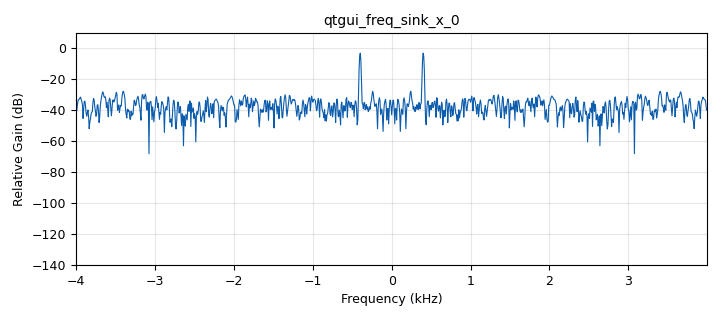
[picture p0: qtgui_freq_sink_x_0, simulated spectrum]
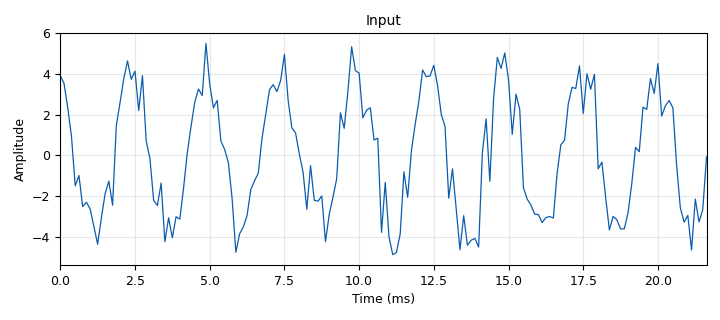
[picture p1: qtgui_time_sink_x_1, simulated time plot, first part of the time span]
options:
  parameters:
    generate_options: qt_gui
    id: untitled
    output_language: python
    title: Not titled yet
  states: {}

blocks:
- name: samp_rate
  id: variable
  parameters:
    value: '8000'
  states: {}
- name: analog_noise_source_x_0
  id: analog_noise_source_x
  parameters:
    amp: '1'
    noise_type: analog.GR_GAUSSIAN
    seed: '0'
    type: float
  states: {}
- name: analog_sig_source_x_0
  id: analog_sig_source_x
  parameters:
    amp: '4'
    freq: '400'
    offset: '0'
    phase: '0'
    samp_rate: samp_rate
    type: float
    waveform: analog.GR_COS_WAVE
  states: {}
- name: blocks_add_xx_0
  id: blocks_add_xx
  parameters:
    type: float
  states: {}
- name: blocks_throttle_0
  id: blocks_throttle
  parameters:
    samples_per_second: samp_rate
    type: float
  states: {}
- name: blocks_wavfile_sink_0
  id: blocks_wavfile_sink
  parameters:
    bits_per_sample1: FORMAT_PCM_16
    file: C:\Users\YASH\Desktop\Mtech stuff\Sem 2\TA duties\SW Lab 2\IIR\high.wav
    format: FORMAT_WAV
    samp_rate: samp_rate
  states: {state: disabled}
- name: blocks_wavfile_source_0
  id: blocks_wavfile_source
  parameters:
    file: E:\Placements\Verification\Implementation-of-IIR-and-FIR-filter-main\IIR\low.wav
    repeat: 'True'
  states: {state: disabled}
- name: epy_block_0
  id: epy_block
  parameters:
    _source_code: |
      # """
      # Embedded Python Blocks:

      # Each time this file is saved, GRC will instantiate the first class it finds
      # to get ports and parameters of your block. The arguments to __init__  will
      # be the parameters. All of them are required to have default values!
      # """

      # import numpy as np
      # from gnuradio import gr

      # class blk(gr.sync_block):  # other base classes are basic_block, decim_block, interp_block
      #     """Embedded Python Block example - a simple multiply const"""

      #     def __init__(self, feedforward_taps=[1], feedbacktaps=[1]):  # only default arguments here
      #         """arguments to this function show up as parameters in GRC"""
      #         gr.sync_block.__init__(
      #             self,
      #             name='Embedded Python Block',  # will show up in GRC
      #             in_sig=[np.float32],
      #             out_sig=[np.float32]
      #         )
      #         # if an attribute with the same name as a parameter is found,
      #         # a callback is registered (properties work, too).
      #         self.feedforward_taps= feedforward_taps # These are your N+1 coefficients.
      #         self.feedbacktaps= feedbacktaps # These are your M+1 coefficients.


      #         self.inputbuffer = np.zeros(len(feedforward_taps)) # Initializing Input Buffer
      #         self.outputbuffer = np.zeros(len(feedbacktaps)) # Initializing Output Buffer

      #         self.index = 0



      #     def work(self, input_items, output_items):

      #         self.input= input_items[0][0] # First sample of input vector
      #         self.output=0

      #         k= len(self.feedforward_taps)-1
      #         self.output=self.input * self.feedforward_taps[0]  # Equation 4 for b0*x[n]
      #         #################################################################
      #         # This operation will take care of IIR filter of variable length.
      #         for i in range(1, k):
      #             self.output = self.output + (self.inputbuffer[k-i] * self.feedforward_taps[i]) - (self.outputbuffer[k-i]*self.feedbacktaps[i])
      #             # Fill in with suitable code to implement equation 4 of the manual for i = 1 to M and j= 1 to N. See line 40 & 49 for i=0 & j=0.
      #             # This will give you IIR filter of variable filter length/order.

      #         ###############################################################3
      #         self.output /= self.feedbacktaps[0]  # Divide by a0 in case a0!=1 to realize eq.4.

      #         output_items[0][0] = self.output  # Store output
      #         # print(self.output)
      #         self.inputbuffer[self.index] = input_items[0][0] # Append inputbuffer
      #         self.outputbuffer[self.index] = output_items[0][0] # Append outputbuffer
      #         self.index = self.index + 1
      #         if(self.index > k):
      #             self.inputbuffer = np.zeros(len(self.feedforward_taps))
      #             self.outputbuffer = np.zeros(len(self.feedbacktaps))
      #             self.index = 0

      #         return 1

      """
      Embedded Python Blocks:

      Each time this file is saved, GRC will instantiate the first class it finds
      to get ports and parameters of your block. The arguments to __init__  will
      be the parameters. All of them are required to have default values!
      """

      import numpy as np
      from gnuradio import gr

      class blk(gr.sync_block):  # other base classes are basic_block, decim_block, interp_block
          """Embedded Python Block example - a simple multiply const"""

          def __init__(self, feedforward_taps=[1], feedbacktaps=[1]):  # only default arguments here
              """arguments to this function show up as parameters in GRC"""
              gr.sync_block.__init__(
                  self,
                  name='Embedded Python Block',  # will show up in GRC
                  in_sig=[np.float32],
                  out_sig=[np.float32]
              )
              # if an attribute with the same name as a parameter is found,
              # a callback is registered (properties work, too).
              self.feedforward_taps= feedforward_taps
              self.feedbacktaps= feedbacktaps

                # This is a local array that I define to store old output values. I need to set this up since there is not a set_history function to access old outputs (at least I cannot find such a function in GNU radio).
              # self.feedforward_taps = 0.0736, 0.2208, 0.2208, 0.0736  # feedforward taps of IIR filter
              # self.feedbacktaps = 1.0000, -0.9761, 0.8568, -0.2919  # feedback taps of IIR filter

              #H2(z) = (10000-12728z^-1+8100z^-2) / (100-160z^-1+64z^-2)
              # self.feedforward_taps = 10000, 12728, 8100  # feedforward taps of IIR filter
              # self.feedbacktaps = 100, 160, 64  # feedback taps of IIR filter

              self.inputbuffer = [0] * (len(self.feedforward_taps)-1) # Initializing Input Buffer
              self.outputbuffer = [0] * (len(self.feedbacktaps)-1) # Initializing Output Buffer



          def work(self, input_items, output_items):

              self.input= input_items[0][0] # First sample of input vector
              self.output=0

              k= len(self.feedforward_taps)-1
              self.output=self.input * self.feedforward_taps[0]

              #################################################################
              # This operation will take care of IIR filter of variable length.
              for i in range(0, k):
                  self.output+= self.feedforward_taps[i+1]* self.inputbuffer[len(self.inputbuffer)-1-i] - self.feedbacktaps[i+1]* self.outputbuffer[len(self.inputbuffer)-1-i]
              self.output/= self.feedbacktaps[0]
              ###############################################################3

              output_items[0][0] = self.output  # Populate our output_items array
              self.inputbuffer.append(input_items[0][0]) # Append inputbuffer
              self.outputbuffer.append(output_items[0][0]) # Append outputbuffer

              return 1
    feedbacktaps: '[0.542921369037925, -2.71460684518963, 5.42921369037925, -5.42921369037925, 2.71460684518963, -0.542921369037925]'
    feedforward_taps: '[1, -3.78927637782901, 5.85817458087140, -4.60057367731681, 1.83069557793160, -0.294763595264789]'
  states: {}
- name: epy_block_0_0
  id: epy_block
  parameters:
    _source_code: |
      """
      Embedded Python Blocks:

      Each time this file is saved, GRC will instantiate the first class it finds
      to get ports and parameters of your block. The arguments to __init__  will
      be the parameters. All of them are required to have default values!
      """

      import numpy as np
      from gnuradio import gr

      class blk(gr.sync_block):  # other base classes are basic_block, decim_block, interp_block
          """Embedded Python Block example - a simple multiply const"""

          def __init__(self, feedforward_taps=[1], feedbacktaps=[1]):  # only default arguments here
              """arguments to this function show up as parameters in GRC"""
              gr.sync_block.__init__(
                  self,
                  name='Embedded Python Block',  # will show up in GRC
                  in_sig=[np.float32],
                  out_sig=[np.float32]
              )
              # if an attribute with the same name as a parameter is found,
              # a callback is registered (properties work, too).
              self.feedforward_taps= feedforward_taps
              self.feedbacktaps= feedbacktaps

                # This is a local array that I define to store old output values. I need to set this up since there is not a set_history function to access old outputs (at least I cannot find such a function in GNU radio).
              # self.feedforward_taps = 0.0736, 0.2208, 0.2208, 0.0736  # feedforward taps of IIR filter
              # self.feedbacktaps = 1.0000, -0.9761, 0.8568, -0.2919  # feedback taps of IIR filter

              #H2(z) = (10000-12728z^-1+8100z^-2) / (100-160z^-1+64z^-2)
              # self.feedforward_taps = 10000, 12728, 8100  # feedforward taps of IIR filter
              # self.feedbacktaps = 100, 160, 64  # feedback taps of IIR filter

              self.inputbuffer = [0] * (len(self.feedforward_taps)-1) # Initializing Input Buffer
              self.outputbuffer = [0] * (len(self.feedbacktaps)-1) # Initializing Output Buffer



          def work(self, input_items, output_items):

              self.input= input_items[0][0] # First sample of input vector
              self.output=0

              k= len(self.feedforward_taps)-1
              self.output=self.input * self.feedforward_taps[0]

              #################################################################
              # This operation will take care of IIR filter of variable length.
              for i in range(0, k):
                  self.output+= self.feedforward_taps[i+1]* self.inputbuffer[len(self.inputbuffer)-1-i] - self.feedbacktaps[i+1]* self.outputbuffer[len(self.inputbuffer)-1-i]
              self.output/= self.feedbacktaps[0]
              ###############################################################3

              output_items[0][0] = self.output  # Populate our output_items array
              self.inputbuffer.append(input_items[0][0]) # Append inputbuffer
              self.outputbuffer.append(output_items[0][0]) # Append outputbuffer

              return 1
    feedbacktaps: '[1, -1.6185196, 0.7105934]'
    feedforward_taps: '[0.0230184, 0.0460368, .0230184]'
  states: {state: disabled}
- name: epy_block_0_1
  id: epy_block
  parameters:
    _source_code: |
      """
      Embedded Python Blocks:

      Each time this file is saved, GRC will instantiate the first class it finds
      to get ports and parameters of your block. The arguments to __init__  will
      be the parameters. All of them are required to have default values!
      """

      import numpy as np
      from gnuradio import gr

      class blk(gr.sync_block):  # other base classes are basic_block, decim_block, interp_block
          """Embedded Python Block example - a simple multiply const"""

          def __init__(self, feedforward_taps=[1], feedbacktaps=[1]):  # only default arguments here
              """arguments to this function show up as parameters in GRC"""
              gr.sync_block.__init__(
                  self,
                  name='Embedded Python Block',  # will show up in GRC
                  in_sig=[np.float32],
                  out_sig=[np.float32]
              )
              # if an attribute with the same name as a parameter is found,
              # a callback is registered (properties work, too).
              self.feedforward_taps= feedforward_taps # These are your N+1 coefficients.
              self.feedbacktaps= feedbacktaps # These are your M+1 coefficients.


              self.inputbuffer = np.zeros(len(feedforward_taps)) # Initializing Input Buffer
              self.outputbuffer = np.zeros(len(feedbacktaps)) # Initializing Output Buffer

              self.index = 0



          def work(self, input_items, output_items):

              self.input= input_items[0][0] # First sample of input vector
              self.output=0

              k= len(self.feedforward_taps)-1
              self.output=self.input * self.feedforward_taps[0]  # Equation 4 for b0*x[n]
              #################################################################
              # This operation will take care of IIR filter of variable length.
              for i in range(1, k):
                  self.output = self.output + (self.inputbuffer[k-i] * self.feedforward_taps[i]) + (self.outputbuffer[k-i]*self.feedbacktaps[i])
                  # Fill in with suitable code to implement equation 4 of the manual for i = 1 to M and j= 1 to N. See line 40 & 49 for i=0 & j=0.
                  # This will give you IIR filter of variable filter length/order.

              ###############################################################3
              self.output /= self.feedbacktaps[0]  # Divide by a0 in case a0!=1 to realize eq.4.

              output_items[0][0] = self.output  # Store output
              # print(self.output)
              self.inputbuffer[self.index] = input_items[0][0] # Append inputbuffer
              self.outputbuffer[self.index] = output_items[0][0] # Append outputbuffer
              self.index = self.index + 1
              if(self.index > k):
                  self.inputbuffer = np.zeros(len(self.feedforward_taps))
                  self.outputbuffer = np.zeros(len(self.feedbacktaps))
                  self.index = 0

              return 1
    feedbacktaps: '[1, -4.47267943483745, 8.02708538984154, -7.22388627710097, 3.25922742572155, -0.589657753181134]'
    feedforward_taps: "[2.79220136016068e-06, 1.39610068008034e-05, 2.79220136016068e-05, 2.79220136016068e-05, 1.39610068008034e-05,\t2.79220136016068e-06]"
  states: {state: disabled}
- name: qtgui_freq_sink_x_0
  id: qtgui_freq_sink_x
  parameters:
    bw: samp_rate
    fc: '0'
    fftsize: '1024'
    type: float
  states: {}
- name: qtgui_freq_sink_x_0_0
  id: qtgui_freq_sink_x
  parameters:
    bw: samp_rate
    fc: '0'
    fftsize: '1024'
    type: float
  states: {}
- name: qtgui_time_sink_x_0
  id: qtgui_time_sink_x
  parameters:
    autoscale: 'True'
    name: '"Output"'
    size: '1024'
    srate: samp_rate
    type: float
  states: {}
- name: qtgui_time_sink_x_1
  id: qtgui_time_sink_x
  parameters:
    autoscale: 'True'
    name: '"Input"'
    size: '1024'
    srate: samp_rate
    type: float
  states: {}

connections:
- [analog_noise_source_x_0, '0', blocks_add_xx_0, '1']
- [analog_sig_source_x_0, '0', blocks_add_xx_0, '0']
- [blocks_add_xx_0, '0', blocks_throttle_0, '0']
- [blocks_add_xx_0, '0', qtgui_freq_sink_x_0, '0']
- [blocks_add_xx_0, '0', qtgui_time_sink_x_1, '0']
- [blocks_throttle_0, '0', epy_block_0, '0']
- [blocks_throttle_0, '0', epy_block_0_0, '0']
- [blocks_throttle_0, '0', epy_block_0_1, '0']
- [blocks_wavfile_source_0, '0', blocks_add_xx_0, '0']
- [epy_block_0, '0', blocks_wavfile_sink_0, '0']
- [epy_block_0, '0', qtgui_freq_sink_x_0_0, '0']
- [epy_block_0, '0', qtgui_time_sink_x_0, '0']
- [epy_block_0_0, '0', blocks_wavfile_sink_0, '0']
- [epy_block_0_0, '0', qtgui_freq_sink_x_0_0, '0']
- [epy_block_0_0, '0', qtgui_time_sink_x_0, '0']
- [epy_block_0_1, '0', blocks_wavfile_sink_0, '0']
- [epy_block_0_1, '0', qtgui_freq_sink_x_0_0, '0']
- [epy_block_0_1, '0', qtgui_time_sink_x_0, '0']

metadata:
  file_format: 1
  grc_version: 3.10.7.0
